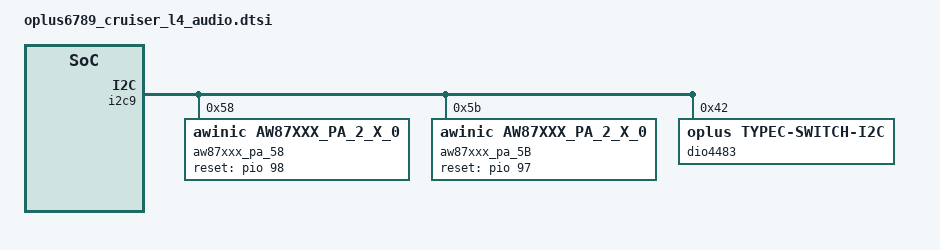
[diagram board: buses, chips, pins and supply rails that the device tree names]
/* Copyright (c) 2018, The Linux Foundation. All rights reserved.
 *
 * This program is free software; you can redistribute it and/or modify
 * it under the terms of the GNU General Public License version 2 and
 * only version 2 as published by the Free Software Foundation.
 *
 * This program is distributed in the hope that it will be useful,
 * but WITHOUT ANY WARRANTY; without even the implied warranty of
 * MERCHANTABILITY or FITNESS FOR A PARTICULAR PURPOSE.  See the
 * GNU General Public License for more details.
 */

&i2c9 {
	aw87xxx_pa_58@58 {
		compatible = "awinic,aw87xxx_pa_2_x_0";
		reset-gpio = <&pio 98 0>;
		reg = <0x58>;
		dev_index = < 1 >;
		status = "okay";
	};

	aw87xxx_pa_5B@5B {
		compatible = "awinic,aw87xxx_pa_2_x_0";
		reset-gpio = <&pio 97 0>;
		reg = <0x5B>;
		dev_index = < 0 >;
		status = "okay";
	};

	dio4483: dio4483@42 {
		 compatible = "oplus,typec-switch-i2c";
		 reg = <0x42>;
		 // add for supporting type-c headphone detect bypass
		 oplus,hp-bypass = <1>;
		 status = "okay";
	 };
};

&sound {
	/* this dtsi config for product's special config, AudioHal read ctl 'OPLUS_AUDIO_EXTEN_CONFIG' get the values*
	 * 1st value --> PA type: 0:NXP Pa, 1:Awinic Pa 2:sia81xx Pa*/
	audio_extern_config = <1>;
	oplus,special-pa-dapm = <1>;
};
// add for supporting type-c headphone detect bypass
&accdet {
	headset-eint0-disable = <1>;
	pull-high-impedance = <1>;
	hp-plug-in-check = <1>;
};

&mt6358codec {
	pull-high-impedance = <1>;
	mediatek,init_dis_micbias;
};
